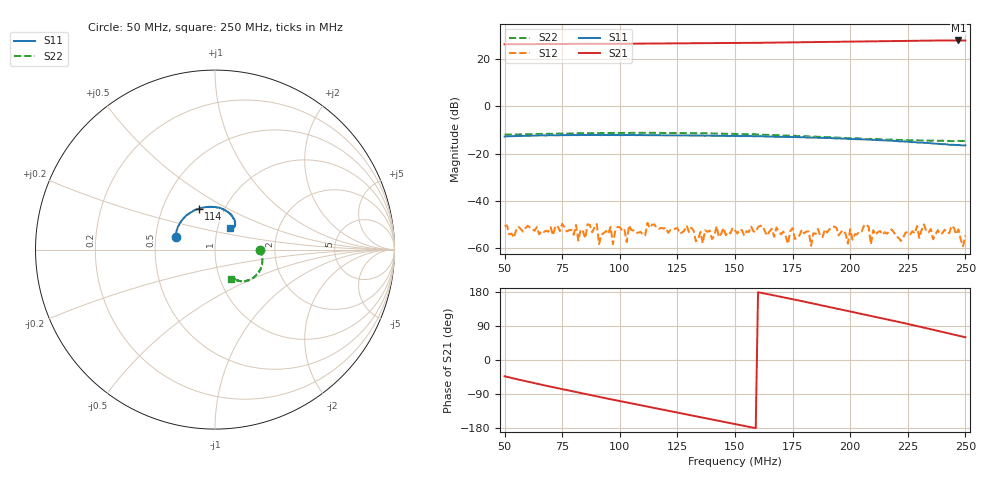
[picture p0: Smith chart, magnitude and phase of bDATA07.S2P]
! Network Analyzer HP8753D.06.12 Serial No. 3410A09394
! 12 Jun 2019  13:25:13
# HZ  S  DB R 50
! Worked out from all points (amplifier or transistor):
!   201 points, 50 MHz to 250 MHz, reference 50 ohm
!   highest |S21| = 28.0 dB at 247 MHz (marker M1)
!   |S21| within 3 dB of that: start of sweep to end of sweep
!   unconditionally stable (mu >= 1): start of sweep to end of sweep
!   at 83 MHz: K = 8.35, MAG = 27.1 dB, |S12| = -52.2 dB
!   at 150 MHz: K = 8.56, MAG = 27.4 dB, |S12| = -52.6 dB
!   at 250 MHz: K = 10.28, MAG = 28.2 dB, |S12| = -54.7 dB
!   S11 on the Smith chart (normalised r, x): 50 MHz: 0.63, +0.10; 114 MHz: 0.76, +0.37; 250 MHz: 1.15, +0.29
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5e7  -12.74 162.1  26.36 -43.0  -50.83 141.1  -11.94 -0.1
6.5e7  -12.29 148.4  26.46 -63.9  -54.27 118.0  -11.69 -4.9
7.4e7  -12.25 141.2  26.49 -75.7  -52.91 124.5  -11.54 -8.2
8.4e7  -12.15 133.0  26.55 -88.4  -52.93 100.5  -11.37 -12.1
9.7e7  -12.15 123.7  26.58 -104.7  -58.44 72.2  -11.26 -17.1
9.9e7  -12.15 122.2  26.58 -107.2  -51.11 85.4  -11.20 -17.5
1.14e8  -12.22 111.5  26.65 -125.5  -50.20 60.9  -11.21 -24.1
1.17e8  -12.22 109.6  26.68 -129.1  -51.89 56.5  -11.22 -25.1
1.34e8  -12.34 98.8  26.76 -149.6  -56.34 64.0  -11.37 -32.2
1.5e8  -12.56 88.4  26.87 -169.0  -52.56 36.0  -11.68 -38.6
1.68e8  -12.85 77.4  27.11 169.1  -51.34 -1.7  -12.18 -45.2
1.77e8  -13.03 72.4  27.24 157.9  -55.65 6.1  -12.59 -48.4
1.84e8  -13.19 68.7  27.32 149.1  -53.78 -22.1  -12.79 -50.5
1.99e8  -13.76 60.9  27.54 129.5  -58.19 -20.8  -13.41 -53.3
2.06e8  -13.97 57.8  27.62 120.5  -50.59 -39.9  -13.73 -54.5
2.09e8  -14.11 56.7  27.64 116.5  -58.50 -11.3  -13.78 -56.0
2.17e8  -14.47 53.4  27.75 105.8  -52.74 -44.2  -14.05 -56.6
2.25e8  -14.91 51.1  27.85 95.0  -53.33 -35.4  -14.31 -56.8
2.33e8  -15.44 49.6  27.93 84.0  -52.87 -76.4  -14.51 -58.7
2.4e8  -16.02 50.3  27.97 74.1  -53.79 -74.2  -14.52 -59.4
2.47e8  -16.36 52.3  27.98 64.1  -52.13 -97.6  -14.62 -60.7
2.5e8  -16.52 55.2  27.98 59.9  -54.74 -85.2  -14.64 -61.4
